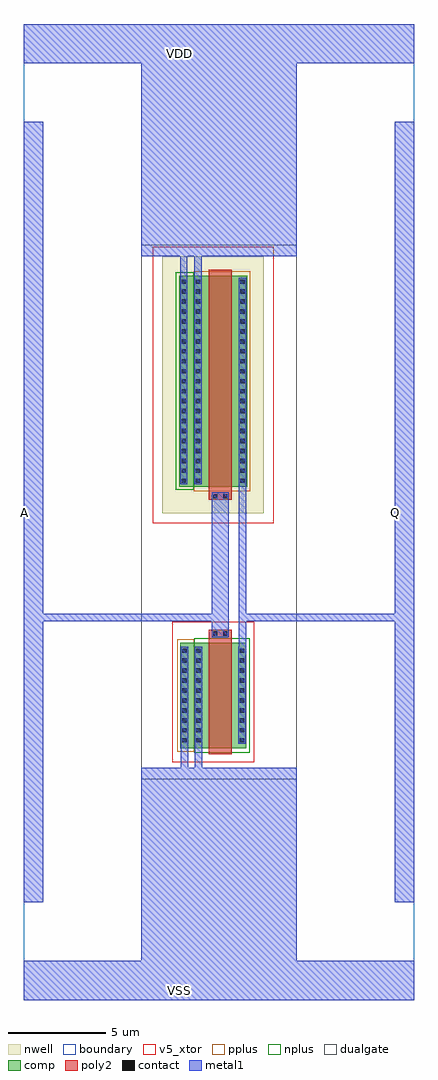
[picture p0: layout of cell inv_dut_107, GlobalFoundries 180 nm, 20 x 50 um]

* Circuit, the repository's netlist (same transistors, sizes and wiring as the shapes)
* inv_dut_107: pfet_05v0 W=10.80u L=1.20u / nfet_05v0 W=5.40u L=1.20u
.SUBCKT inv_dut_107 A Q VDD VSS
MMP Q A VDD VDD pfet_05v0 W=10.80u L=1.20u
MMN Q A VSS VSS nfet_05v0 W=5.40u L=1.20u
.ENDS

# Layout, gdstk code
import gdstk
lib = gdstk.Library(unit=1e-6, precision=1e-09)
def R(c, l, rs):  # rectangles x0, y0, x1, y1
    for r in rs: c.add(gdstk.rectangle(r[:2], r[2:], *l))
def A(c, l, x, y, w, h, nx, ny, dx, dy):  # array of equal rectangles
    R(c, l, [(x+i*dx, y+j*dy, x+i*dx+w, y+j*dy+h) for i in range(nx) for j in range(ny)])
boundary = (0, 0)
nwell = (21, 0)
comp = (22, 0)
poly2 = (30, 0)
pplus = (31, 0)
nplus = (32, 0)
contact = (33, 0)
metal1 = (34, 0)
dualgate = (55, 0)
v5_xtor = (112, 1)

inv_dut_107 = lib.new_cell('inv_dut_107')
R(inv_dut_107, boundary, [(-10,-25,10,25)])
R(inv_dut_107, nwell, [(-2.895,-0.07,2.295,13.09)])
R(inv_dut_107, comp, [(-1.975,-12.1,1.395,-6.7), (-2.035,1.3,1.435,12.1)])
R(inv_dut_107, poly2, [(-0.535,-12.4,0.665,-6.04), (-0.535,0.62,0.665,12.4)])
R(inv_dut_107, pplus, [(-2.145,-12.27,-1.265,-6.53), (-1.305,1.06,1.605,12.34)])
R(inv_dut_107, nplus, [(-1.265,-12.34,1.565,-6.46), (-2.205,1.13,-1.305,12.27)])
A(inv_dut_107, contact, -1.875, -11.805, 0.22, 0.22, 1, 10, 0, 0.51)
A(inv_dut_107, contact, -1.165, -11.805, 0.22, 0.22, 1, 10, 0, 0.51)
A(inv_dut_107, contact, 1.075, -11.805, 0.22, 0.22, 1, 10, 0, 0.51)
A(inv_dut_107, contact, -1.915, 1.49, 0.22, 0.22, 1, 21, 0, 0.51)
A(inv_dut_107, contact, -1.185, 1.49, 0.22, 0.22, 1, 21, 0, 0.51)
A(inv_dut_107, contact, 1.095, 1.49, 0.22, 0.22, 1, 21, 0, 0.51)
R(inv_dut_107, contact, [(-0.3,-6.33,-0.08,-6.11), (0.21,-6.33,0.43,-6.11), (-0.3,0.7,-0.08,0.92), (0.21,0.7,0.43,0.92)])
R(inv_dut_107, metal1, [(-10,-25,10,-23), (-3.995,-23,3.995,-13.4), (-10,-20,-9,20), (9,-20,10,20), (-3.995,-13.7,3.995,-13.1), (-1.955,-13.7,-1.575,-6.915), (-1.245,-13.7,-0.865,-6.915), (-1.955,-11.885,-1.575,-6.915), (-1.245,-11.885,-0.865,-6.915), (0.995,-11.885,1.375,-6.915), (0.995,-7.295,1.395,-6.915), (1.015,-7.295,1.395,1.79), (-0.38,-6.41,0.51,1), (-0.38,-6.41,0.51,-6.03), (-9,-5.6,-3.695,-5.2), (-3.995,-5.6,0.51,-5.2), (1.015,-5.6,3.995,-5.2), (3.695,-5.6,9,-5.2), (-0.38,0.62,0.51,1), (-1.995,1.41,-1.615,13.7), (-1.995,1.41,-1.615,11.99), (-1.265,1.41,-0.885,13.7), (-1.265,1.41,-0.885,11.99), (1.015,1.41,1.395,1.79), (1.015,1.41,1.395,11.99), (-3.995,13.1,3.995,13.7), (-3.995,13.4,3.995,23), (-10,23,10,25)])
R(inv_dut_107, dualgate, [(-3.995,-13.7,3.995,13.7), (-2.395,-12.81,1.815,-5.62), (-3.395,-0.57,2.795,13.59)])
R(inv_dut_107, v5_xtor, [(-2.395,-12.81,1.815,-5.62), (-3.395,-0.57,2.795,13.59)])
inv_dut_107.add(gdstk.Label('VDD', (-2,23.5), layer=34, texttype=10))
inv_dut_107.add(gdstk.Label('VSS', (-2,-24.5), layer=34, texttype=10))
inv_dut_107.add(gdstk.Label('A', (-9.97,0), layer=34, texttype=10))
inv_dut_107.add(gdstk.Label('Q', (9.03,0), layer=34, texttype=10))

lib.write_gds('inv_dut_107.gds')
